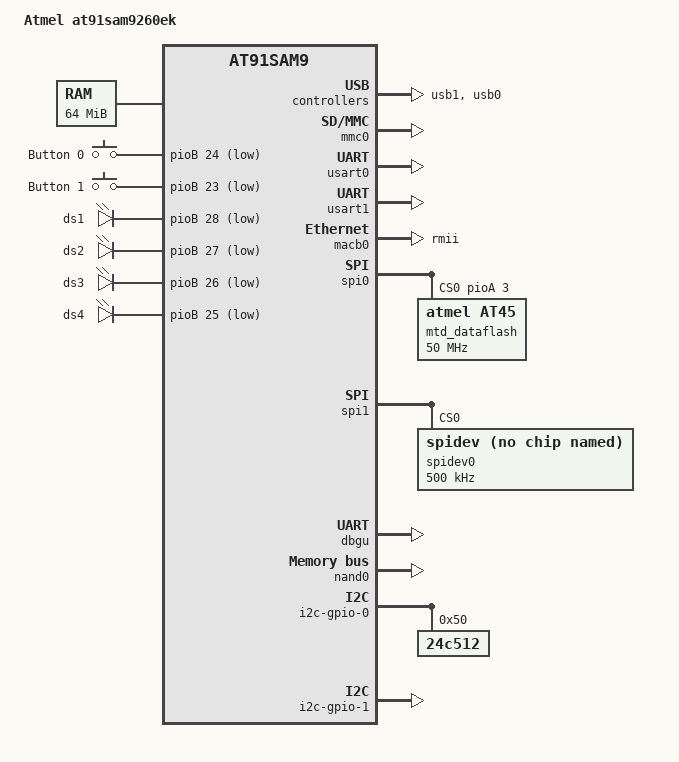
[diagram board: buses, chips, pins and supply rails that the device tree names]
/*
 * Device Tree file for Atmel at91sam9260 Evaluation Kit
 *
 *  Copyright (C) 2016 Atmel,
 *		  2016 Nicolas Ferre <nicolas.ferre@atmel.com>
 *
 * This file is dual-licensed: you can use it either under the terms
 * of the GPL or the X11 license, at your option. Note that this dual
 * licensing only applies to this file, and not this project as a
 * whole.
 *
 *  a) This file is free software; you can redistribute it and/or
 *     modify it under the terms of the GNU General Public License as
 *     published by the Free Software Foundation; either version 2 of the
 *     License, or (at your option) any later version.
 *
 *     This file is distributed in the hope that it will be useful,
 *     but WITHOUT ANY WARRANTY; without even the implied warranty of
 *     MERCHANTABILITY or FITNESS FOR A PARTICULAR PURPOSE.  See the
 *     GNU General Public License for more details.
 *
 * Or, alternatively,
 *
 *  b) Permission is hereby granted, free of charge, to any person
 *     obtaining a copy of this software and associated documentation
 *     files (the "Software"), to deal in the Software without
 *     restriction, including without limitation the rights to use,
 *     copy, modify, merge, publish, distribute, sublicense, and/or
 *     sell copies of the Software, and to permit persons to whom the
 *     Software is furnished to do so, subject to the following
 *     conditions:
 *
 *     The above copyright notice and this permission notice shall be
 *     included in all copies or substantial portions of the Software.
 *
 *     THE SOFTWARE IS PROVIDED "AS IS", WITHOUT WARRANTY OF ANY KIND,
 *     EXPRESS OR IMPLIED, INCLUDING BUT NOT LIMITED TO THE WARRANTIES
 *     OF MERCHANTABILITY, FITNESS FOR A PARTICULAR PURPOSE AND
 *     NONINFRINGEMENT. IN NO EVENT SHALL THE AUTHORS OR COPYRIGHT
 *     HOLDERS BE LIABLE FOR ANY CLAIM, DAMAGES OR OTHER LIABILITY,
 *     WHETHER IN AN ACTION OF CONTRACT, TORT OR OTHERWISE, ARISING
 *     FROM, OUT OF OR IN CONNECTION WITH THE SOFTWARE OR THE USE OR
 *     OTHER DEALINGS IN THE SOFTWARE.
 */
/dts-v1/;
#include "at91sam9260.dtsi"

/ {
	model = "Atmel at91sam9260ek";
	compatible = "atmel,at91sam9260ek", "atmel,at91sam9260", "atmel,at91sam9";

	chosen {
		stdout-path = &dbgu;
	};

	memory {
		reg = <0x20000000 0x4000000>;
	};

	clocks {
		slow_xtal {
			clock-frequency = <32768>;
		};

		main_xtal {
			clock-frequency = <18432000>;
		};
	};

	ahb {
		apb {
			usb1: gadget@fffa4000 {
				/* atmel,vbus-gpio = <&pioC 5 GPIO_ACTIVE_HIGH>; */
				atmel,vbus-gpio = <&pioB 16 GPIO_ACTIVE_HIGH>;
				status = "okay";
			};

			mmc0: mmc@fffa8000 {
				pinctrl-0 = <
					&pinctrl_board_mmc0_slot0
					&pinctrl_mmc0_clk
					&pinctrl_mmc0_slot0_cmd_dat0
					&pinctrl_mmc0_slot0_dat1_3>;
				status = "okay";
				slot@1 {
					reg = <0>;
					bus-width = <4>;
					/* cd-gpios = <&pioC 9 GPIO_ACTIVE_HIGH>; */
					cd-gpios = <&pioA 5 GPIO_ACTIVE_HIGH>;
				};
			};

			usart0: serial@fffb0000 {
				pinctrl-0 =
					<&pinctrl_usart0
					/* &pinctrl_usart0_rts
					 &pinctrl_usart0_cts
					 &pinctrl_usart0_dtr_dsr
					 &pinctrl_usart0_dcd
					 &pinctrl_usart0_ri */
					>;
				status = "okay";
			};

			usart1: serial@fffb4000 {
				status = "okay";
			};

			ssc0: ssc@fffbc000 {
				/* status = "okay"; */
				pinctrl-0 = <&pinctrl_ssc0_tx>;
			};

			macb0: ethernet@fffc4000 {
				phy-mode = "rmii";
				status = "okay";
			};

			spi0: spi@fffc8000 {
				/* cs-gpios = <0>, <&pioC 11 0>, <0>, <0>; */
				/* cs-gpios = <0>, <&pioA 3 0>, <0>, <0>; */
				cs-gpios = <&pioA 3 0>, <0>, <0>, <0>;
				status = "okay";
				mtd_dataflash@0 {
					compatible = "atmel,at45", "atmel,dataflash";
					spi-max-frequency = <50000000>;
					reg = <0>;
				};
			};

			spi1: spi@fffcc000 {
				cs-gpio = <&pioB 3 0>,<&pioC 5 0>,<&pioC 4 0>;
				status = "okay";

				spidev0: spidev@0{
                	 	compatible = "spidev";
                		reg = <0>;      /* CE0 */
		                #address-cells = <1>;
                 		#size-cells = <0>;
                 		spi-max-frequency = <500000>;
        			 };
			};


			dbgu: serial@fffff200 {
				status = "okay";
			};

			pinctrl@fffff400 {
				board {
					pinctrl_board_mmc0_slot0: mmc0_slot0-board {
						atmel,pins =
						/*	<AT91_PIOC 9 AT91_PERIPH_GPIO AT91_PINCTRL_PULL_UP_DEGLITCH>;	*/
							<AT91_PIOA 5 AT91_PERIPH_GPIO AT91_PINCTRL_PULL_UP_DEGLITCH>;
					};
				};
			};

			shdwc@fffffd10 {
				atmel,wakeup-counter = <10>;
				atmel,wakeup-rtt-timer;
			};

			rtc@fffffd20 {
				atmel,rtt-rtc-time-reg = <&gpbr 0x0>;
				status = "okay";
			};

			watchdog@fffffd40 {
				status = "okay";
			};

			gpbr: syscon@fffffd50 {
				status = "okay";
			};
		};

		usb0: ohci@500000 {
			num-ports = <2>;
			status = "okay";
		};

		nand0: nand@40000000 {
			nand-bus-width = <8>;
			nand-ecc-mode = "soft";
			nand-on-flash-bbt;
			status = "okay";
		};
	};

	gpio_keys {
		compatible = "gpio-keys";

		btn0 {
			label = "Button 0";
			gpios = <&pioB 24 GPIO_ACTIVE_LOW>;
			linux,code = <0x103>;
			wakeup-source;
		};

		btn1 {
			label = "Button 1";
			gpios = <&pioB 23 GPIO_ACTIVE_LOW>;
			linux,code = <0x104>;
			wakeup-source;
		};
	};

	i2c-gpio-0 {
		status = "okay";

		24c512@50 {
			compatible = "24c512";
			reg = <0x50>;
		};
	};


	i2c-gpio-1 {
		status = "okay";
	};

	leds {
		compatible = "gpio-leds";

		ds1 {
			label = "ds1";
			gpios = <&pioB 28 GPIO_ACTIVE_LOW>;
			linux,default-trigger = "heartbeat";
		};

		ds2 {
			label = "ds2";
			gpios = <&pioB 27 GPIO_ACTIVE_LOW>;
			linux,default-trigger = "cpu0";
		};
		ds3 {
			label = "ds3";
			gpios = <&pioB 26 GPIO_ACTIVE_LOW>;
			linux,default-trigger = "mtd";
		};
	
		ds4 {
			label = "ds4";
			gpios = <&pioB 25 GPIO_ACTIVE_LOW>;
			linux,default-trigger = "fffc4000.etherne:01:100Mbps";
		};
	};
};
